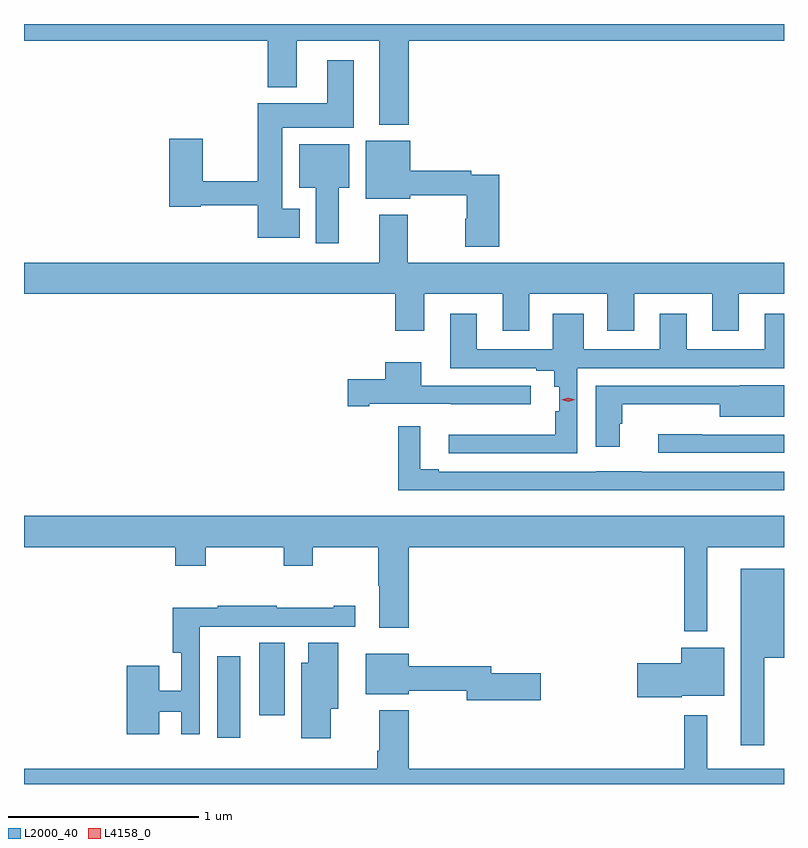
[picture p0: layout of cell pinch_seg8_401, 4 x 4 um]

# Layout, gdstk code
import gdstk
lib = gdstk.Library(unit=1e-6, precision=1e-09)
def R(c, l, rs):  # rectangles x0, y0, x1, y1
    for r in rs: c.add(gdstk.rectangle(r[:2], r[2:], *l))
def P(c, l, *ps):  # polygons
    for p in ps: c.add(gdstk.Polygon(p, *l))
L2000_40 = (2000, 40)
L4158_0 = (4158, 0)

pinch_seg8_401 = lib.new_cell('pinch_seg8_401')
R(pinch_seg8_401, L2000_40, [(588.938,1110.168,589.06,1110.598), (589.16,1110.288,589.294,1110.668)])
P(pinch_seg8_401, L2000_40, [(589.946,1113.836),(591.922,1113.836),(591.922,1113.925),(587.922,1113.925),(587.922,1113.836),(589.205,1113.836),(589.205,1113.593),(589.357,1113.593),(589.357,1113.836),(589.793,1113.836),(589.793,1113.395),(589.946,1113.395)],
  [(589.372,1112.953),(589.282,1112.953),(589.282,1113.38),(589.657,1113.38),(589.657,1113.733),(589.517,1113.733),(589.517,1113.508),(589.153,1113.508),(589.153,1113.098),(588.864,1113.098),(588.864,1113.322),(588.686,1113.322),(588.686,1112.962),(588.852,1112.962),(588.852,1112.97),(589.153,1112.97),(589.153,1112.801),(589.372,1112.801)],
  [(590.423,1113.132),(590.276,1113.132),(590.276,1113.152),(589.954,1113.152),(589.954,1113.31),(589.721,1113.31),(589.721,1113.005),(589.954,1113.005),(589.954,1113.024),(590.252,1113.024),(590.252,1112.901),(590.245,1112.901),(590.245,1112.753),(590.423,1112.753)],
  [(589.579,1113.062),(589.633,1113.062),(589.633,1113.292),(589.37,1113.292),(589.37,1113.062),(589.457,1113.062),(589.457,1112.772),(589.579,1112.772)],
  [(590.029,1112.504),(590.441,1112.504),(590.441,1112.31),(590.581,1112.31),(590.581,1112.504),(590.993,1112.504),(590.993,1112.31),(591.133,1112.31),(591.133,1112.504),(591.545,1112.504),(591.545,1112.31),(591.685,1112.31),(591.685,1112.504),(591.922,1112.504),(591.922,1112.668),(589.941,1112.668),(589.941,1112.92),(589.793,1112.92),(589.793,1112.668),(587.922,1112.668),(587.922,1112.504),(589.877,1112.504),(589.877,1112.31),(590.029,1112.31)],
  [(590.835,1112.112),(591.922,1112.112),(591.922,1112.401),(591.821,1112.401),(591.821,1112.213),(591.409,1112.213),(591.409,1112.401),(591.269,1112.401),(591.269,1112.213),(590.869,1112.213),(590.869,1112.401),(590.705,1112.401),(590.705,1112.213),(590.305,1112.213),(590.305,1112.401),(590.165,1112.401),(590.165,1112.112),(590.618,1112.112),(590.618,1112.1),(590.714,1112.1),(590.714,1112.016),(590.738,1112.016),(590.738,1111.887),(590.719,1111.887),(590.719,1111.762),(590.157,1111.762),(590.157,1111.665),(590.835,1111.665)],
  [(589.738,1111.926),(590.169,1111.926),(590.169,1111.925),(590.59,1111.925),(590.59,1112.022),(590.014,1112.022),(590.014,1112.146),(589.823,1112.146),(589.823,1112.055),(589.626,1112.055),(589.626,1111.913),(589.738,1111.913)],
  [(591.058,1111.821),(591.071,1111.821),(591.071,1111.925),(591.584,1111.925),(591.584,1111.859),(591.922,1111.859),(591.922,1112.023),(591.688,1112.023),(591.688,1112.022),(590.93,1112.022),(590.93,1111.701),(591.058,1111.701)],
  [(591.922,1111.569),(591.173,1111.569),(591.173,1111.57),(590.934,1111.57),(590.934,1111.569),(590.104,1111.569),(590.104,1111.582),(590.008,1111.582),(590.008,1111.807),(589.891,1111.807),(589.891,1111.472),(591.922,1111.472)],
  [(591.922,1111.764),(591.488,1111.764),(591.488,1111.765),(591.261,1111.765),(591.261,1111.668),(591.922,1111.668)],
  [(591.517,1111.172),(591.922,1111.172),(591.922,1111.336),(587.922,1111.336),(587.922,1111.172),(588.719,1111.172),(588.719,1111.073),(588.879,1111.073),(588.879,1111.172),(589.288,1111.172),(589.288,1111.073),(589.443,1111.073),(589.443,1111.172),(589.786,1111.172),(589.786,1110.968),(589.793,1110.968),(589.793,1110.747),(589.946,1110.747),(589.946,1111.172),(591.396,1111.172),(591.396,1110.728),(591.517,1110.728)],
  [(591.817,1110.59),(591.922,1110.59),(591.922,1111.057),(591.695,1111.057),(591.695,1110.129),(591.817,1110.129)],
  [(588.634,1110.306),(588.75,1110.306),(588.75,1110.186),(588.846,1110.186),(588.846,1110.752),(589.056,1110.752),(589.056,1110.753),(589.666,1110.753),(589.666,1110.862),(589.553,1110.862),(589.553,1110.852),(589.253,1110.852),(589.253,1110.862),(588.943,1110.862),(588.943,1110.852),(588.704,1110.852),(588.704,1110.617),(588.75,1110.617),(588.75,1110.416),(588.634,1110.416),(588.634,1110.547),(588.464,1110.547),(588.464,1110.186),(588.634,1110.186)],
  [(589.537,1110.32),(589.576,1110.32),(589.576,1110.668),(589.418,1110.668),(589.418,1110.562),(589.382,1110.562),(589.382,1110.165),(589.537,1110.165)],
  [(591.384,1110.389),(591.607,1110.389),(591.607,1110.643),(591.38,1110.643),(591.38,1110.56),(591.15,1110.56),(591.15,1110.382),(591.384,1110.382)],
  [(590.641,1110.509),(590.38,1110.509),(590.38,1110.545),(589.948,1110.545),(589.948,1110.61),(589.721,1110.61),(589.721,1110.398),(589.948,1110.398),(589.948,1110.417),(590.252,1110.417),(590.252,1110.367),(590.641,1110.367)],
  [(591.922,1110.004),(591.517,1110.004),(591.517,1110.286),(591.396,1110.286),(591.396,1110.004),(589.946,1110.004),(589.946,1110.313),(589.793,1110.313),(589.793,1110.1),(589.781,1110.1),(589.781,1110.004),(587.922,1110.004),(587.922,1109.925),(591.922,1109.925)])
P(pinch_seg8_401, L4158_0, [(590.786,1111.938),(590.75,1111.948),(590.749,1111.948),(590.75,1111.948),(590.786,1111.958),(590.822,1111.948),(590.822,1111.948),(590.822,1111.948)])

lib.write_gds('pinch_seg8_401.gds')
